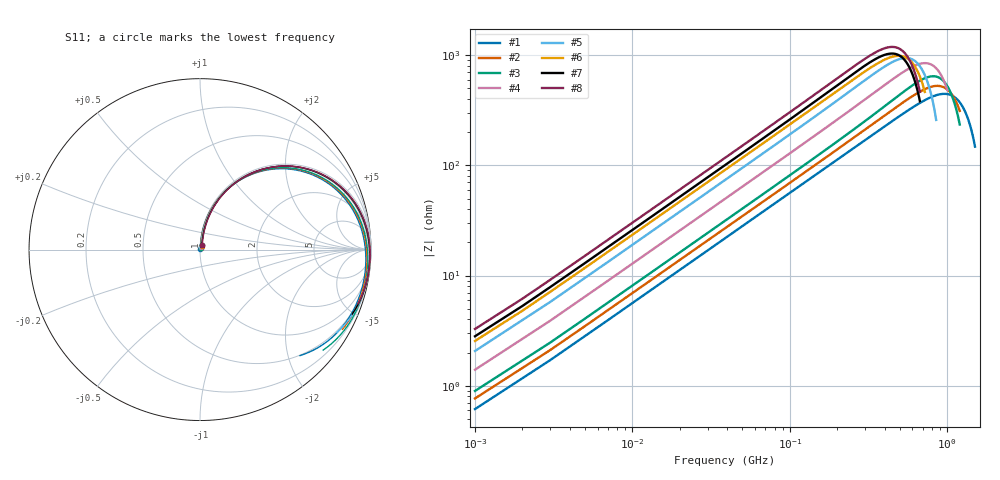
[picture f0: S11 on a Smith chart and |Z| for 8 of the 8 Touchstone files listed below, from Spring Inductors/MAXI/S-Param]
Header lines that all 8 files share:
! 28 May 2003
# MHZ S MA R 50
!Freq  MagS11  AngS11  MagS21  AngS21  MagS12  AngS12  MagS22  AngS22
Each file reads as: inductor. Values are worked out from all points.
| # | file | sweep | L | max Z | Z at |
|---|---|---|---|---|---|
| 1 | MAXI_09T.S2P | 1 MHz to 1.5 GHz | 89.6 nH | 447 ohm | 957 MHz |
| 2 | MAXI_10T.S2P | 1 MHz to 1.2 GHz | 110 nH | 528 ohm | 863 MHz |
| 3 | MAXI_11T.S2P | 1 MHz to 1.2 GHz | 129 nH | 645 ohm | 813 MHz |
| 4 | MAXI_13T.S2P | 1 MHz to 1 GHz | 204 nH | - | - |
| 5 | MAXI_16T.S2P | 1 MHz to 850 MHz | 302 nH | 945 ohm | 547 MHz |
| 6 | MAXI_17T.S2P | 1 MHz to 720 MHz | 373 nH | 989 ohm | 490 MHz |
| 7 | MAXI_18T.S2P | 1 MHz to 670 MHz | 413 nH | 1.04 kohm | 445 MHz |
| 8 | MAXI_19T.S2P | 1 MHz to 670 MHz | 480 nH | 1.19 kohm | 446 MHz |
